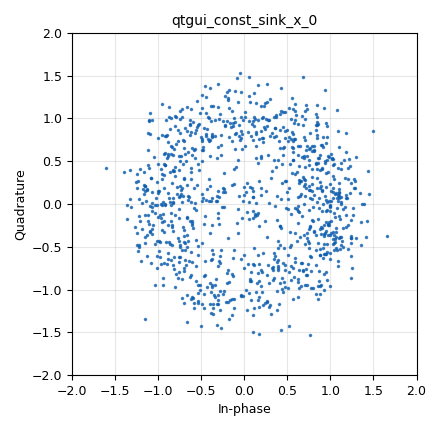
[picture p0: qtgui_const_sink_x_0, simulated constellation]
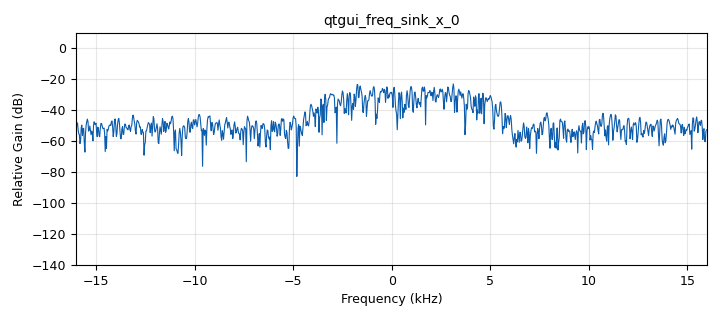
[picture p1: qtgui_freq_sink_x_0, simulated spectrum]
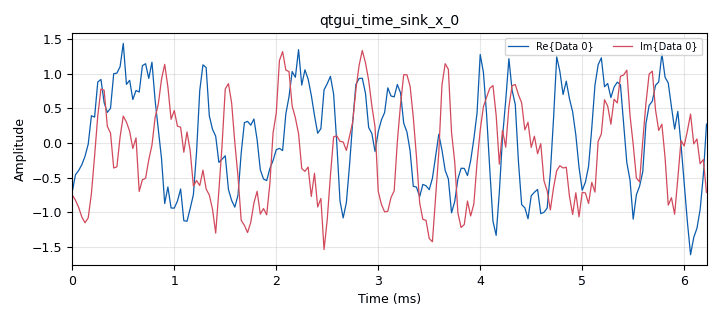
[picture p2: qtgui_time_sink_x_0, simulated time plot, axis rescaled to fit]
options:
  parameters:
    author: David Venegas
    generate_options: qt_gui
    id: Stage2_Channel_Impairments
    output_language: python
    title: Channel_Impairments
  states: {}

blocks:
- name: AWGN
  id: variable_qtgui_range
  parameters:
    label: 'Channel: Noise Voltage'
    orient: Qt.Horizontal
    start: '0'
    step: '0.01'
    stop: '1'
    value: '0.200'
  states: {}
- name: Freq_Offset
  id: variable_qtgui_range
  parameters:
    label: 'Channel: Frequency Offset'
    orient: Qt.Horizontal
    start: '-0.1'
    step: '0.001'
    stop: '0.1'
    value: '0.025'
  states: {}
- name: QPSK
  id: variable_constellation_rect
  parameters:
    const_points: '[-0.707-0.707j, -0.707+0.707j, 0.707+0.707j, 0.707-0.707j]'
    imag_sect: '2'
    real_sect: '2'
    rot_sym: '4'
    sym_map: '[0, 1, 2, 3]'
    w_imag_sect: '1'
    w_real_sect: '1'
  states: {}
- name: Time_Offset
  id: variable_qtgui_range
  parameters:
    label: 'Channel: Timing Offset'
    orient: Qt.Horizontal
    start: '0.999'
    step: '0.0001'
    stop: '1.001'
    value: '1.0005'
  states: {}
- name: samp_rate
  id: variable
  parameters:
    value: '32000'
  states: {}
- name: analog_random_source_x_0
  id: analog_random_source_x
  parameters:
    max: '255'
    min: '0'
    num_samps: '10000'
    repeat: 'True'
    type: byte
  states: {}
- name: blocks_throttle_0
  id: blocks_throttle
  parameters:
    samples_per_second: samp_rate
    type: complex
  states: {}
- name: channels_channel_model_0
  id: channels_channel_model
  parameters:
    epsilon: '1.0005'
    freq_offset: '0.025'
    noise_voltage: '0.200'
    seed: '0'
    taps: '1'
  states: {}
- name: digital_constellation_modulator_0
  id: digital_constellation_modulator
  parameters:
    constellation: QPSK
    differential: 'True'
    excess_bw: '0.35'
    samples_per_symbol: '4'
  states: {}
- name: qtgui_const_sink_x_0
  id: qtgui_const_sink_x
  parameters:
    size: '1024'
    type: complex
  states: {}
- name: qtgui_freq_sink_x_0
  id: qtgui_freq_sink_x
  parameters:
    bw: samp_rate
    fc: '0'
    fftsize: '1024'
    type: complex
    wintype: firdes.WIN_BLACKMAN_hARRIS
  states: {}
- name: qtgui_time_sink_x_0
  id: qtgui_time_sink_x
  parameters:
    size: '200'
    srate: samp_rate
    type: complex
  states: {}

connections:
- [analog_random_source_x_0, '0', digital_constellation_modulator_0, '0']
- [blocks_throttle_0, '0', channels_channel_model_0, '0']
- [channels_channel_model_0, '0', qtgui_const_sink_x_0, '0']
- [channels_channel_model_0, '0', qtgui_freq_sink_x_0, '0']
- [channels_channel_model_0, '0', qtgui_time_sink_x_0, '0']
- [digital_constellation_modulator_0, '0', blocks_throttle_0, '0']

metadata:
  file_format: 1
